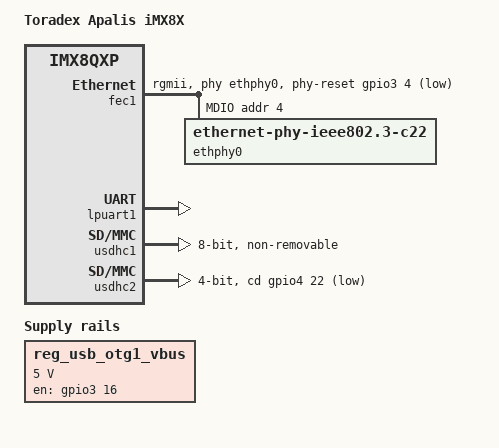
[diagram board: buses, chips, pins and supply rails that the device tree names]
// SPDX-License-Identifier: GPL-2.0+ OR MIT
/*
 * Copyright 2020 Toradex
 */

/dts-v1/;

#include "fsl-imx8qxp.dtsi"
#include "fsl-imx8qxp-apalis-u-boot.dtsi"

/ {
	model = "Toradex Apalis iMX8X";
	compatible = "toradex,apalis-imx8x", "fsl,imx8qxp";

	chosen {
		bootargs = "console=ttyLP1,115200";
		stdout-path = &lpuart1;
	};

	regulators {
		compatible = "simple-bus";
		#address-cells = <1>;
		#size-cells = <0>;

		reg_usb_otg1_vbus: regulator@0 {
			compatible = "regulator-fixed";
			reg = <0>;
			regulator-name = "usb_otg1_vbus";
			regulator-min-microvolt = <5000000>;
			regulator-max-microvolt = <5000000>;
			gpio = <&gpio3 16 GPIO_ACTIVE_HIGH>;
			enable-active-high;
		};
	};
};

&iomuxc {
	pinctrl-names = "default";
	pinctrl-0 = <&pinctrl_hog0>, <&pinctrl_hog1>, <&pinctrl_reset_moci>;

	apalis-imx8x {
		/* Apalis UART1 */
		pinctrl_lpuart1: lpuart1grp {
			fsl,pins = <
				SC_P_UART1_RX_ADMA_UART1_RX		0x06000020	/* SODIMM 118 */
				SC_P_UART1_TX_ADMA_UART1_TX		0x06000020	/* SODIMM 112 */
			>;
		};

		/* On-module Gigabit Ethernet PHY Micrel KSZ9031 */
		pinctrl_fec1: fec1grp {
			fsl,pins = <
				SC_P_COMP_CTL_GPIO_1V8_3V3_ENET_ENETB0_PAD	0x14a0
				SC_P_COMP_CTL_GPIO_1V8_3V3_ENET_ENETB1_PAD	0x14a0
				SC_P_ENET0_MDC_CONN_ENET0_MDC			0x06000020
				SC_P_ENET0_MDIO_CONN_ENET0_MDIO			0x06000020
				SC_P_ENET0_RGMII_TX_CTL_CONN_ENET0_RGMII_TX_CTL	0x61
				SC_P_ENET0_RGMII_TXC_CONN_ENET0_RGMII_TXC	0x61
				SC_P_ENET0_RGMII_TXD0_CONN_ENET0_RGMII_TXD0	0x61
				SC_P_ENET0_RGMII_TXD1_CONN_ENET0_RGMII_TXD1	0x61
				SC_P_ENET0_RGMII_TXD2_CONN_ENET0_RGMII_TXD2	0x61
				SC_P_ENET0_RGMII_TXD3_CONN_ENET0_RGMII_TXD3	0x61
				SC_P_ENET0_RGMII_RXC_CONN_ENET0_RGMII_RXC	0x61
				SC_P_ENET0_RGMII_RX_CTL_CONN_ENET0_RGMII_RX_CTL	0x61
				SC_P_ENET0_RGMII_RXD0_CONN_ENET0_RGMII_RXD0	0x61
				SC_P_ENET0_RGMII_RXD1_CONN_ENET0_RGMII_RXD1	0x61
				SC_P_ENET0_RGMII_RXD2_CONN_ENET0_RGMII_RXD2	0x61
				SC_P_ENET0_RGMII_RXD3_CONN_ENET0_RGMII_RXD3	0x61
				/* On-module ETH_RESET# */
				SC_P_MIPI_CSI0_MCLK_OUT_LSIO_GPIO3_IO04		0x06000020
				/* On-module ETH_INT# */
				SC_P_ADC_IN2_LSIO_GPIO1_IO12			0x21
			>;
		};

		/* Apalis BKL_ON */
		pinctrl_gpio_bkl_on: gpio-bkl-on {
			fsl,pins = <
				SC_P_QSPI0A_DQS_LSIO_GPIO3_IO13			0x40		/* SODIMM 286 */
			>;
		};

		pinctrl_hog0: hog0grp {
			fsl,pins = <
				SC_P_COMP_CTL_GPIO_1V8_3V3_GPIORHB_PAD		0x000514a0
			>;
		};

		pinctrl_hog1: hog1grp {
			fsl,pins = <
				/* Apalis USBO1_EN */
				SC_P_QSPI0A_SCLK_LSIO_GPIO3_IO16		0x41		/* SODIMM 274 */
			>;
		};

		/* Apalis RESET_MOCI# */
		pinctrl_reset_moci: gpioresetmocigrp {
			fsl,pins = <
				SC_P_PCIE_CTRL0_CLKREQ_B_LSIO_GPIO4_IO01	0x21
			>;
		};

		/* On-module eMMC */
		pinctrl_usdhc1: usdhc1grp {
			fsl,pins = <
				SC_P_EMMC0_CLK_CONN_EMMC0_CLK			0x06000041
				SC_P_EMMC0_CMD_CONN_EMMC0_CMD			0x21
				SC_P_EMMC0_DATA0_CONN_EMMC0_DATA0		0x21
				SC_P_EMMC0_DATA1_CONN_EMMC0_DATA1		0x21
				SC_P_EMMC0_DATA2_CONN_EMMC0_DATA2		0x21
				SC_P_EMMC0_DATA3_CONN_EMMC0_DATA3		0x21
				SC_P_EMMC0_DATA4_CONN_EMMC0_DATA4		0x21
				SC_P_EMMC0_DATA5_CONN_EMMC0_DATA5		0x21
				SC_P_EMMC0_DATA6_CONN_EMMC0_DATA6		0x21
				SC_P_EMMC0_DATA7_CONN_EMMC0_DATA7		0x21
				SC_P_EMMC0_STROBE_CONN_EMMC0_STROBE		0x41
				SC_P_EMMC0_RESET_B_CONN_EMMC0_RESET_B		0x21
			>;
		};

		pinctrl_usdhc1_100mhz: usdhc1grp100mhz {
			fsl,pins = <
				SC_P_EMMC0_CLK_CONN_EMMC0_CLK			0x06000041
				SC_P_EMMC0_CMD_CONN_EMMC0_CMD			0x21
				SC_P_EMMC0_DATA0_CONN_EMMC0_DATA0		0x21
				SC_P_EMMC0_DATA1_CONN_EMMC0_DATA1		0x21
				SC_P_EMMC0_DATA2_CONN_EMMC0_DATA2		0x21
				SC_P_EMMC0_DATA3_CONN_EMMC0_DATA3		0x21
				SC_P_EMMC0_DATA4_CONN_EMMC0_DATA4		0x21
				SC_P_EMMC0_DATA5_CONN_EMMC0_DATA5		0x21
				SC_P_EMMC0_DATA6_CONN_EMMC0_DATA6		0x21
				SC_P_EMMC0_DATA7_CONN_EMMC0_DATA7		0x21
				SC_P_EMMC0_STROBE_CONN_EMMC0_STROBE		0x41
				SC_P_EMMC0_RESET_B_CONN_EMMC0_RESET_B		0x21
			>;
		};

		pinctrl_usdhc1_200mhz: usdhc1grp200mhz {
			fsl,pins = <
				SC_P_EMMC0_CLK_CONN_EMMC0_CLK			0x06000041
				SC_P_EMMC0_CMD_CONN_EMMC0_CMD			0x21
				SC_P_EMMC0_DATA0_CONN_EMMC0_DATA0		0x21
				SC_P_EMMC0_DATA1_CONN_EMMC0_DATA1		0x21
				SC_P_EMMC0_DATA2_CONN_EMMC0_DATA2		0x21
				SC_P_EMMC0_DATA3_CONN_EMMC0_DATA3		0x21
				SC_P_EMMC0_DATA4_CONN_EMMC0_DATA4		0x21
				SC_P_EMMC0_DATA5_CONN_EMMC0_DATA5		0x21
				SC_P_EMMC0_DATA6_CONN_EMMC0_DATA6		0x21
				SC_P_EMMC0_DATA7_CONN_EMMC0_DATA7		0x21
				SC_P_EMMC0_STROBE_CONN_EMMC0_STROBE		0x41
				SC_P_EMMC0_RESET_B_CONN_EMMC0_RESET_B		0x21
			>;
		};

		/* Apalis MMC1_CD# */
		pinctrl_usdhc2_gpio: mmc1gpiogrp {
			fsl,pins = <
				SC_P_USDHC1_CD_B_LSIO_GPIO4_IO22		0x06000021	/* SODIMM 164 */
			>;
		};

		pinctrl_usdhc2_gpio_sleep: usdhc1gpioslpgrp {
			fsl,pins = <
				SC_P_USDHC1_CD_B_LSIO_GPIO4_IO22		0x60		/* SODIMM 164 */
			>;
		};

		/* Apalis USBH_EN */
		pinctrl_usbh_en: usbhen {
			fsl,pins = <
				SC_P_USB_SS3_TC1_LSIO_GPIO4_IO04		0x40		/* SODIMM 84 */
			>;
		};

		/* Apalis MMC1 */
		pinctrl_usdhc2: usdhc2grp {
			fsl,pins = <
				SC_P_USDHC1_CLK_CONN_USDHC1_CLK			0x06000041	/* SODIMM 154 */
				SC_P_USDHC1_CMD_CONN_USDHC1_CMD			0x21		/* SODIMM 150 */
				SC_P_USDHC1_DATA0_CONN_USDHC1_DATA0		0x21		/* SODIMM 160 */
				SC_P_USDHC1_DATA1_CONN_USDHC1_DATA1		0x21		/* SODIMM 162 */
				SC_P_USDHC1_DATA2_CONN_USDHC1_DATA2		0x21		/* SODIMM 144 */
				SC_P_USDHC1_DATA3_CONN_USDHC1_DATA3		0x21		/* SODIMM 146 */
				SC_P_USDHC1_VSELECT_CONN_USDHC1_VSELECT		0x21
			>;
		};

		pinctrl_usdhc2_100mhz: usdhc2grp100mhz {
			fsl,pins = <
				SC_P_USDHC1_CLK_CONN_USDHC1_CLK			0x06000041	/* SODIMM 154 */
				SC_P_USDHC1_CMD_CONN_USDHC1_CMD			0x21		/* SODIMM 150 */
				SC_P_USDHC1_DATA0_CONN_USDHC1_DATA0		0x21		/* SODIMM 160 */
				SC_P_USDHC1_DATA1_CONN_USDHC1_DATA1		0x21		/* SODIMM 162 */
				SC_P_USDHC1_DATA2_CONN_USDHC1_DATA2		0x21		/* SODIMM 144 */
				SC_P_USDHC1_DATA3_CONN_USDHC1_DATA3		0x21		/* SODIMM 146 */
				SC_P_USDHC1_VSELECT_CONN_USDHC1_VSELECT		0x21
			>;
		};

		pinctrl_usdhc2_200mhz: usdhc2grp200mhz {
			fsl,pins = <
				SC_P_USDHC1_CLK_CONN_USDHC1_CLK			0x06000041	/* SODIMM 154 */
				SC_P_USDHC1_CMD_CONN_USDHC1_CMD			0x21		/* SODIMM 150 */
				SC_P_USDHC1_DATA0_CONN_USDHC1_DATA0		0x21		/* SODIMM 160 */
				SC_P_USDHC1_DATA1_CONN_USDHC1_DATA1		0x21		/* SODIMM 162 */
				SC_P_USDHC1_DATA2_CONN_USDHC1_DATA2		0x21		/* SODIMM 144 */
				SC_P_USDHC1_DATA3_CONN_USDHC1_DATA3		0x21		/* SODIMM 146 */
				SC_P_USDHC1_VSELECT_CONN_USDHC1_VSELECT		0x21
			>;
		};

		pinctrl_usdhc2_sleep: usdhc2slpgrp {
			fsl,pins = <
				SC_P_USDHC1_CLK_LSIO_GPIO4_IO23			0x60		/* SODIMM 154 */
				SC_P_USDHC1_CMD_LSIO_GPIO4_IO24			0x60		/* SODIMM 150 */
				SC_P_USDHC1_DATA0_LSIO_GPIO4_IO25		0x60		/* SODIMM 160 */
				SC_P_USDHC1_DATA1_LSIO_GPIO4_IO26		0x60		/* SODIMM 162 */
				SC_P_USDHC1_DATA2_LSIO_GPIO4_IO27		0x60		/* SODIMM 144 */
				SC_P_USDHC1_DATA3_LSIO_GPIO4_IO28		0x60		/* SODIMM 146 */
				SC_P_USDHC1_VSELECT_CONN_USDHC1_VSELECT		0x21
			>;
		};
	};
};

/* Apalis Gigabit LAN */
&fec1 {
	pinctrl-names = "default";
	pinctrl-0 = <&pinctrl_fec1>;
	fsl,magic-packet;
	phy-handle = <&ethphy0>;
	phy-mode = "rgmii";
	phy-reset-duration = <10>;
	phy-reset-post-delay = <150>;
	phy-reset-gpios = <&gpio3 4 GPIO_ACTIVE_LOW>;
	status = "okay";

	mdio {
		#address-cells = <1>;
		#size-cells = <0>;

		ethphy0: ethernet-phy@4 {
			compatible = "ethernet-phy-ieee802.3-c22";
			reg = <4>;
		};
	};
};

/* Apalis UART1 */
&lpuart1 {
	pinctrl-names = "default";
	pinctrl-0 = <&pinctrl_lpuart1>;
	status = "okay";
};

/* On-module eMMC */
&usdhc1 {
	bus-width = <8>;
	non-removable;
	pinctrl-names = "default", "state_100mhz", "state_200mhz";
	pinctrl-0 = <&pinctrl_usdhc1>;
	pinctrl-1 = <&pinctrl_usdhc1_100mhz>;
	pinctrl-2 = <&pinctrl_usdhc1_200mhz>;
	status = "okay";
};

/* Apalis MMC1 */
&usdhc2 {
	bus-width = <4>;
	cd-gpios = <&gpio4 22 GPIO_ACTIVE_LOW>;
	pinctrl-names = "default", "state_100mhz", "state_200mhz", "sleep";
	pinctrl-0 = <&pinctrl_usdhc2>, <&pinctrl_usdhc2_gpio>;
	pinctrl-1 = <&pinctrl_usdhc2_100mhz>, <&pinctrl_usdhc2_gpio>;
	pinctrl-2 = <&pinctrl_usdhc2_200mhz>, <&pinctrl_usdhc2_gpio>;
	pinctrl-3 = <&pinctrl_usdhc2_sleep>, <&pinctrl_usdhc2_gpio_sleep>;
	disable-wp;
	status = "okay";
};
